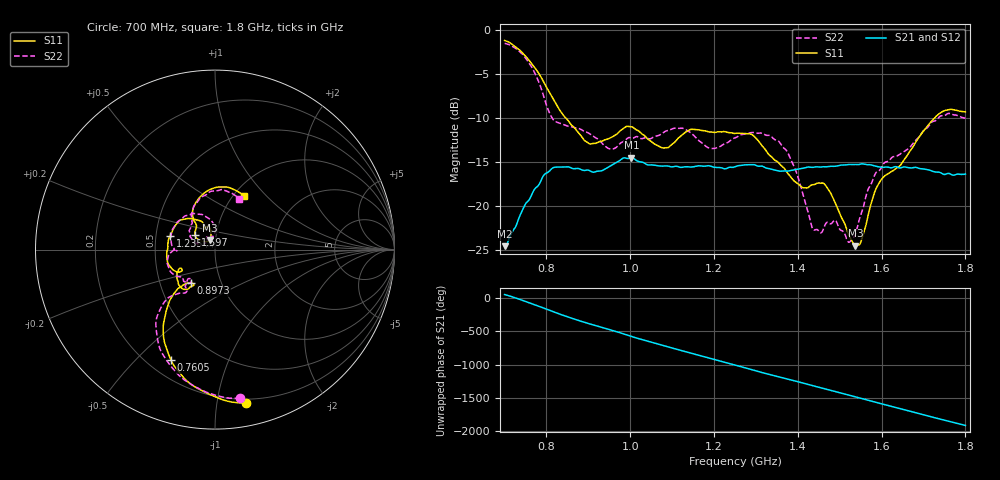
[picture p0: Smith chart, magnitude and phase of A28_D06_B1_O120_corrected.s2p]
! Created with skrf 1.9.0 (http://scikit-rf.org).
# Hz S RI R 50.0
!freq ReS11 ImS11 ReS21 ImS21 ReS12 ImS12 ReS22 ImS22
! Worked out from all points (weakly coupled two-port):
!   1601 points, 700 MHz to 1.8 GHz, reference 50 ohm
!   highest |S21| = -14.50 dB at 1.002 GHz (marker M1); lowest = -24.5 dB at 700 MHz (marker M2)
!   lowest |S11| = -24.5 dB at 1.537 GHz (marker M3), VSWR 1.13, Z = 47.1 + j5.02 ohm
!   |S11| at or under -10 dB: 846.5 MHz to 1.726 GHz (879.4 MHz wide, 68.4 % of centre)
!   |S22| runs from -24.1 to -1.5 dB; largest |S21 - S12| = 0.0035
!   S11 on the Smith chart (normalised r, x): 700 MHz: 0.17, -1.21; 760.5 MHz: 0.29, -0.64; 897.3 MHz: 0.72, -0.28; 1.235 GHz: 0.59, +0.09; 1.597 GHz: 0.79, +0.13; 1.8 GHz: 1.12, +0.76
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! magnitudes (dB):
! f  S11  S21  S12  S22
! 700 MHz  -1.2  -24.5  -24.3  -1.5
! 760.5 MHz  -3.6  -19.1  -19.0  -3.9
! 815.5 MHz  -7.8  -15.6  -15.7  -10.1
! 883.6 MHz  -12.1  -15.9  -15.8  -11.3
! 897.3 MHz  -12.8  -15.9  -16.0  -11.6
! 953 MHz  -12.2  -15.4  -15.4  -13.5
! 1.002 GHz  -11.0  -14.5  -14.6  -12.3
! 1.067 GHz  -13.2  -15.4  -15.4  -12.0
! 1.145 GHz  -11.3  -15.5  -15.6  -11.7
! 1.235 GHz  -11.6  -15.6  -15.7  -12.7
! 1.25 GHz  -11.7  -15.5  -15.5  -12.2
! 1.292 GHz  -11.9  -15.3  -15.3  -11.6
! 1.357 GHz  -15.2  -16.0  -15.9  -12.7
! 1.394 GHz  -17.3  -15.8  -15.8  -15.9
! 1.434 GHz  -17.6  -15.6  -15.5  -22.4
! 1.469 GHz  -17.8  -15.5  -15.5  -21.8
! 1.537 GHz  -24.5  -15.3  -15.3  -23.2
! 1.568 GHz  -21.1  -15.3  -15.3  -18.1
! 1.597 GHz  -17.2  -15.5  -15.5  -15.9
! 1.617 GHz  -16.3  -15.6  -15.5  -14.8
! 1.735 GHz  -9.6  -16.1  -16.2  -10.0
! 1.8 GHz  -9.3  -16.3  -16.3  -10.0
